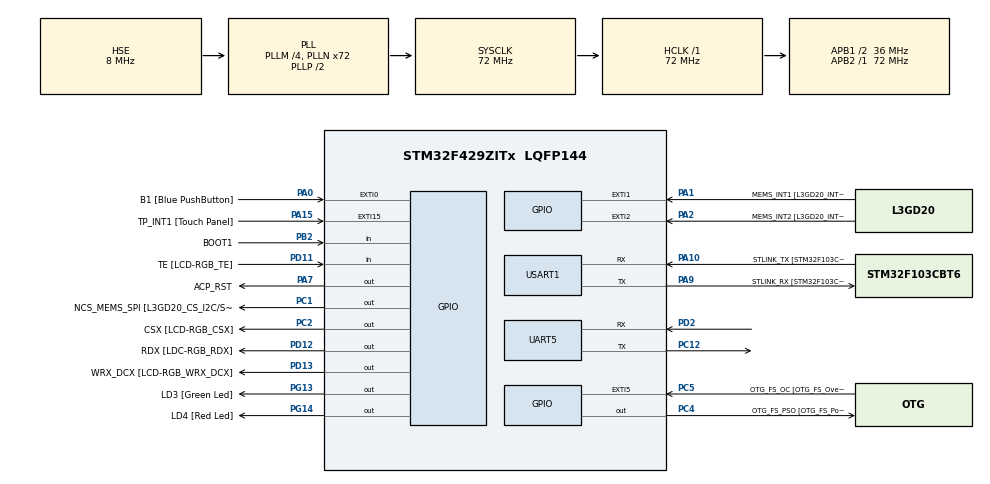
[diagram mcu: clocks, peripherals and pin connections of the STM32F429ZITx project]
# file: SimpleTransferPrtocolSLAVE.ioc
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Mcu.Family=STM32F4
Mcu.Name=STM32F429ZITx
Mcu.Package=LQFP144
NVIC.PriorityGroup=NVIC_PRIORITYGROUP_4
NVIC.TIM6_DAC_IRQn=true\:15\:0\:false\:false\:true\:false\:true\:true
NVIC.TimeBase=TIM6_DAC_IRQn
NVIC.TimeBaseIP=TIM6
NVIC.UART5_IRQn=true\:0\:0\:false\:false\:true\:true\:true\:true
PA0/WKUP.GPIO_Label=B1 [Blue PushButton]
PA0/WKUP.GPIO_ModeDefaultEXTI=GPIO_MODE_EVT_RISING
PA0/WKUP.GPIO_PuPd=GPIO_NOPULL
PA0/WKUP.Signal=GPXTI0
PA1.GPIO_Label=MEMS_INT1 [L3GD20_INT1]
PA1.GPIO_ModeDefaultEXTI=GPIO_MODE_EVT_RISING
PA1.GPIO_PuPd=GPIO_NOPULL
PA1.Signal=GPXTI1
PA10.GPIO_Label=STLINK_TX [STM32F103CBT6_PA2]
PA10.Mode=Asynchronous
PA10.Signal=USART1_RX
PA11.GPIO_Label=R4
PA11.GPIO_Mode=GPIO_MODE_AF_PP
PA11.GPIO_PuPd=GPIO_NOPULL
PA11.GPIO_Speed=GPIO_SPEED_FREQ_LOW
PA11.Signal=LTDC_R4
PA12.GPIO_Label=R5
PA12.GPIO_Mode=GPIO_MODE_AF_PP
PA12.GPIO_PuPd=GPIO_NOPULL
PA12.GPIO_Speed=GPIO_SPEED_FREQ_LOW
PA12.Signal=LTDC_R5
PA13.GPIO_Label=SWDIO
PA13.Mode=Serial_Wire
PA13.Signal=SYS_JTMS-SWDIO
PA14.GPIO_Label=SWCLK
PA14.Mode=Serial_Wire
PA14.Signal=SYS_JTCK-SWCLK
PA15.GPIO_Label=TP_INT1 [Touch Panel]
PA15.GPIO_ModeDefaultEXTI=GPIO_MODE_EVT_RISING
PA15.GPIO_PuPd=GPIO_NOPULL
PA15.Signal=GPXTI15
PA2.GPIO_Label=MEMS_INT2 [L3GD20_INT2]
PA2.GPIO_ModeDefaultEXTI=GPIO_MODE_EVT_RISING
PA2.GPIO_PuPd=GPIO_NOPULL
PA2.Signal=GPXTI2
PA3.GPIO_Label=B5
PA3.GPIO_Mode=GPIO_MODE_AF_PP
PA3.GPIO_PuPd=GPIO_NOPULL
PA3.GPIO_Speed=GPIO_SPEED_FREQ_LOW
PA3.Signal=LTDC_B5
PA4.GPIO_Label=VSYNC
PA4.GPIO_Mode=GPIO_MODE_AF_PP
PA4.GPIO_PuPd=GPIO_NOPULL
PA4.GPIO_Speed=GPIO_SPEED_FREQ_LOW
PA4.Signal=LTDC_VSYNC
PA6.GPIO_Label=G2
PA6.GPIO_Mode=GPIO_MODE_AF_PP
PA6.GPIO_PuPd=GPIO_NOPULL
PA6.GPIO_Speed=GPIO_SPEED_FREQ_LOW
PA6.Signal=LTDC_G2
PA7.GPIO_Label=ACP_RST
PA7.GPIO_Mode=GPIO_MODE_OUTPUT_PP
PA7.GPIO_PuPd=GPIO_NOPULL
PA7.GPIO_Speed=GPIO_SPEED_FREQ_LOW
PA7.Signal=GPIO_Output
PA8.GPIO_Label=I2C3_SCL [ACP/RF_SCL]
PA8.GPIO_Mode=GPIO_MODE_AF_OD
PA8.GPIO_Pu=GPIO_PULLUP
PA8.GPIO_PuPd=GPIO_NOPULL
PA8.GPIO_Speed=GPIO_SPEED_FREQ_LOW
PA8.Signal=I2C3_SCL
PA9.GPIO_Label=STLINK_RX [STM32F103CBT6_PA3]
PA9.Mode=Asynchronous
PA9.Signal=USART1_TX
PB0.GPIO_Label=R3
PB0.GPIO_Mode=GPIO_MODE_AF_PP
PB0.GPIO_PuPd=GPIO_NOPULL
PB0.GPIO_Speed=GPIO_SPEED_FREQ_LOW
PB0.Signal=LTDC_R3
PB1.GPIO_Label=R6
PB1.GPIO_Mode=GPIO_MODE_AF_PP
PB1.GPIO_PuPd=GPIO_NOPULL
PB1.GPIO_Speed=GPIO_SPEED_FREQ_LOW
PB1.Signal=LTDC_R6
PB10.GPIO_Label=G4
PB10.GPIO_Mode=GPIO_MODE_AF_PP
PB10.GPIO_PuPd=GPIO_NOPULL
PB10.GPIO_Speed=GPIO_SPEED_FREQ_LOW
PB10.Signal=LTDC_G4
PB11.GPIO_Label=G5
PB11.GPIO_Mode=GPIO_MODE_AF_PP
PB11.GPIO_PuPd=GPIO_NOPULL
PB11.GPIO_Speed=GPIO_SPEED_FREQ_LOW
PB11.Signal=LTDC_G5
PB12.GPIO_Label=OTG_HS_ID
PB12.GPIO_Mode=GPIO_MODE_AF_PP
PB12.GPIO_PuPd=GPIO_NOPULL
PB12.GPIO_Speed=GPIO_SPEED_FREQ_LOW
PB12.Signal=USB_OTG_HS_ID
PB13.GPIO_Label=VBUS_HS
PB13.GPIO_Mode=GPIO_MODE_INPUT
PB13.GPIO_PuPd=GPIO_NOPULL
PB13.Signal=USB_OTG_HS_VBUS
PB14.GPIO_Label=OTG_HS_DM
PB14.GPIO_Mode=GPIO_MODE_AF_PP
PB14.GPIO_PuPd=GPIO_NOPULL
PB14.GPIO_Speed=GPIO_SPEED_FREQ_LOW
PB14.Signal=USB_OTG_HS_DM
PB15.GPIO_Label=OTG_HS_DP
PB15.GPIO_Mode=GPIO_MODE_AF_PP
PB15.GPIO_PuPd=GPIO_NOPULL
PB15.GPIO_Speed=GPIO_SPEED_FREQ_LOW
PB15.Signal=USB_OTG_HS_DP
PB2/BOOT1.GPIO_Label=BOOT1
PB2/BOOT1.GPIO_Mode=GPIO_MODE_INPUT
PB2/BOOT1.GPIO_PuPd=GPIO_NOPULL
PB2/BOOT1.Signal=GPIO_Input
PB5.GPIO_Label=SDCKE1
PB5.GPIO_Mode=GPIO_MODE_AF_PP
PB5.GPIO_PuPd=GPIO_NOPULL
PB5.GPIO_Speed=GPIO_SPEED_FREQ_VERY_HIGH
PB5.Signal=FMC_SDCKE1
PB6.GPIO_Label=SDNE1 [SDRAM_CS]
PB6.GPIO_Mode=GPIO_MODE_AF_PP
PB6.GPIO_PuPd=GPIO_NOPULL
PB6.GPIO_Speed=GPIO_SPEED_FREQ_VERY_HIGH
PB6.Signal=FMC_SDNE1
PB8.GPIO_Label=B6
PB8.GPIO_Mode=GPIO_MODE_AF_PP
PB8.GPIO_PuPd=GPIO_NOPULL
PB8.GPIO_Speed=GPIO_SPEED_FREQ_LOW
PB8.Signal=LTDC_B6
PB9.GPIO_Label=B7
PB9.GPIO_Mode=GPIO_MODE_AF_PP
PB9.GPIO_PuPd=GPIO_NOPULL
PB9.GPIO_Speed=GPIO_SPEED_FREQ_LOW
PB9.Signal=LTDC_B7
PC0.GPIO_Label=SDNWE
PC0.GPIO_Mode=GPIO_MODE_AF_PP
PC0.GPIO_PuPd=GPIO_NOPULL
PC0.GPIO_Speed=GPIO_SPEED_FREQ_VERY_HIGH
PC0.Signal=FMC_SDNWE
PC1.GPIO_Label=NCS_MEMS_SPI [L3GD20_CS_I2C/SPI]
PC1.GPIO_Mode=GPIO_MODE_OUTPUT_PP
PC1.GPIO_PuPd=GPIO_NOPULL
PC1.GPIO_Speed=GPIO_SPEED_FREQ_LOW
PC1.Signal=GPIO_Output
PC10.GPIO_Label=R2
PC10.GPIO_Mode=GPIO_MODE_AF_PP
PC10.GPIO_PuPd=GPIO_NOPULL
PC10.GPIO_Speed=GPIO_SPEED_FREQ_LOW
PC10.Signal=LTDC_R2
PC12.Mode=Asynchronous
PC12.Signal=UART5_TX
PC14/OSC32_IN.GPIO_Label=PC14-OSC32_IN
PC14/OSC32_IN.Signal=RCC_OSC32_IN
PC15/OSC32_OUT.GPIO_Label=PC15-OSC32_OUT
PC15/OSC32_OUT.Signal=RCC_OSC32_OUT
PC2.GPIO_Label=CSX [LCD-RGB_CSX]
PC2.GPIO_Mode=GPIO_MODE_OUTPUT_PP
PC2.GPIO_PuPd=GPIO_NOPULL
PC2.GPIO_Speed=GPIO_SPEED_FREQ_LOW
PC2.Signal=GPIO_Output
PC4.GPIO_Label=OTG_FS_PSO [OTG_FS_PowerSwitchOn]
PC4.GPIO_Mode=GPIO_MODE_OUTPUT_PP
PC4.GPIO_PuPd=GPIO_NOPULL
PC4.GPIO_Speed=GPIO_SPEED_FREQ_LOW
PC4.Signal=GPIO_Output
PC5.GPIO_Label=OTG_FS_OC [OTG_FS_OverCurrent]
PC5.GPIO_ModeDefaultEXTI=GPIO_MODE_EVT_RISING
PC5.Signal=GPXTI5
PC6.GPIO_Label=HSYNC
PC6.GPIO_Mode=GPIO_MODE_AF_PP
PC6.GPIO_PuPd=GPIO_NOPULL
PC6.GPIO_Speed=GPIO_SPEED_FREQ_LOW
PC6.Signal=LTDC_HSYNC
PC7.GPIO_Label=G6
PC7.GPIO_Mode=GPIO_MODE_AF_PP
PC7.GPIO_PuPd=GPIO_NOPULL
PC7.GPIO_Speed=GPIO_SPEED_FREQ_LOW
PC7.Signal=LTDC_G6
PC9.GPIO_Label=I2C3_SDA [ACP/RF_SDA]
PC9.GPIO_Mode=GPIO_MODE_AF_OD
PC9.GPIO_Pu=GPIO_PULLUP
PC9.GPIO_PuPd=GPIO_NOPULL
PC9.GPIO_Speed=GPIO_SPEED_FREQ_LOW
PC9.Signal=I2C3_SDA
PD0.GPIO_Label=D2
PD0.GPIO_Mode=GPIO_MODE_AF_PP
PD0.GPIO_PuPd=GPIO_NOPULL
PD0.GPIO_Speed=GPIO_SPEED_FREQ_VERY_HIGH
PD0.Signal=FMC_D2_DA2
PD1.GPIO_Label=D3
PD1.GPIO_Mode=GPIO_MODE_AF_PP
PD1.GPIO_PuPd=GPIO_NOPULL
PD1.GPIO_Speed=GPIO_SPEED_FREQ_VERY_HIGH
PD1.Signal=FMC_D3_DA3
PD10.GPIO_Label=D15
PD10.GPIO_Mode=GPIO_MODE_AF_PP
PD10.GPIO_PuPd=GPIO_NOPULL
PD10.GPIO_Speed=GPIO_SPEED_FREQ_VERY_HIGH
PD10.Signal=FMC_D15_DA15
PD11.GPIO_Label=TE [LCD-RGB_TE]
PD11.GPIO_Mode=GPIO_MODE_INPUT
PD11.GPIO_PuPd=GPIO_NOPULL
PD11.Signal=GPIO_Input
PD12.GPIO_Label=RDX [LDC-RGB_RDX]
PD12.GPIO_Mode=GPIO_MODE_OUTPUT_PP
PD12.GPIO_PuPd=GPIO_NOPULL
PD12.GPIO_Speed=GPIO_SPEED_FREQ_LOW
PD12.Signal=GPIO_Output
PD13.GPIO_Label=WRX_DCX [LCD-RGB_WRX_DCX]
PD13.GPIO_Mode=GPIO_MODE_OUTPUT_PP
PD13.GPIO_PuPd=GPIO_NOPULL
PD13.GPIO_Speed=GPIO_SPEED_FREQ_LOW
PD13.Signal=GPIO_Output
PD14.GPIO_Label=D0
PD14.GPIO_Mode=GPIO_MODE_AF_PP
PD14.GPIO_PuPd=GPIO_NOPULL
PD14.GPIO_Speed=GPIO_SPEED_FREQ_VERY_HIGH
PD14.Signal=FMC_D0_DA0
PD15.GPIO_Label=D1
PD15.GPIO_Mode=GPIO_MODE_AF_PP
PD15.GPIO_PuPd=GPIO_NOPULL
PD15.GPIO_Speed=GPIO_SPEED_FREQ_VERY_HIGH
PD15.Signal=FMC_D1_DA1
PD2.Mode=Asynchronous
PD2.Signal=UART5_RX
PD3.GPIO_Label=G7
PD3.GPIO_Mode=GPIO_MODE_AF_PP
PD3.GPIO_PuPd=GPIO_NOPULL
PD3.GPIO_Speed=GPIO_SPEED_FREQ_LOW
PD3.Signal=LTDC_G7
PD6.GPIO_Label=B2
PD6.GPIO_Mode=GPIO_MODE_AF_PP
PD6.GPIO_PuPd=GPIO_NOPULL
PD6.GPIO_Speed=GPIO_SPEED_FREQ_LOW
PD6.Signal=LTDC_B2
PD8.GPIO_Label=D13
PD8.GPIO_Mode=GPIO_MODE_AF_PP
PD8.GPIO_PuPd=GPIO_NOPULL
PD8.GPIO_Speed=GPIO_SPEED_FREQ_VERY_HIGH
PD8.Signal=FMC_D13_DA13
PD9.GPIO_Label=D14
PD9.GPIO_Mode=GPIO_MODE_AF_PP
PD9.GPIO_PuPd=GPIO_NOPULL
PD9.GPIO_Speed=GPIO_SPEED_FREQ_VERY_HIGH
PD9.Signal=FMC_D14_DA14
PE0.GPIO_Label=NBL0 [SDRAM_LDQM]
PE0.GPIO_Mode=GPIO_MODE_AF_PP
PE0.GPIO_PuPd=GPIO_NOPULL
PE0.GPIO_Speed=GPIO_SPEED_FREQ_VERY_HIGH
PE0.Signal=FMC_NBL0
PE1.GPIO_Label=NBL1 [SDRAM_UDQM]
PE1.GPIO_Mode=GPIO_MODE_AF_PP
PE1.GPIO_PuPd=GPIO_NOPULL
PE1.GPIO_Speed=GPIO_SPEED_FREQ_VERY_HIGH
PE1.Signal=FMC_NBL1
PE10.GPIO_Label=D7
PE10.GPIO_Mode=GPIO_MODE_AF_PP
PE10.GPIO_PuPd=GPIO_NOPULL
PE10.GPIO_Speed=GPIO_SPEED_FREQ_VERY_HIGH
PE10.Signal=FMC_D7_DA7
PE11.GPIO_Label=D8
PE11.GPIO_Mode=GPIO_MODE_AF_PP
PE11.GPIO_PuPd=GPIO_NOPULL
PE11.GPIO_Speed=GPIO_SPEED_FREQ_VERY_HIGH
PE11.Signal=FMC_D8_DA8
PE12.GPIO_Label=D9
PE12.GPIO_Mode=GPIO_MODE_AF_PP
PE12.GPIO_PuPd=GPIO_NOPULL
PE12.GPIO_Speed=GPIO_SPEED_FREQ_VERY_HIGH
PE12.Signal=FMC_D9_DA9
PE13.GPIO_Label=D10
PE13.GPIO_Mode=GPIO_MODE_AF_PP
PE13.GPIO_PuPd=GPIO_NOPULL
PE13.GPIO_Speed=GPIO_SPEED_FREQ_VERY_HIGH
PE13.Signal=FMC_D10_DA10
PE14.GPIO_Label=D11
PE14.GPIO_Mode=GPIO_MODE_AF_PP
PE14.GPIO_PuPd=GPIO_NOPULL
PE14.GPIO_Speed=GPIO_SPEED_FREQ_VERY_HIGH
PE14.Signal=FMC_D11_DA11
PE15.GPIO_Label=D12
PE15.GPIO_Mode=GPIO_MODE_AF_PP
PE15.GPIO_PuPd=GPIO_NOPULL
PE15.GPIO_Speed=GPIO_SPEED_FREQ_VERY_HIGH
PE15.Signal=FMC_D12_DA12
PE7.GPIO_Label=D4
PE7.GPIO_Mode=GPIO_MODE_AF_PP
PE7.GPIO_PuPd=GPIO_NOPULL
PE7.GPIO_Speed=GPIO_SPEED_FREQ_VERY_HIGH
PE7.Signal=FMC_D4_DA4
PE8.GPIO_Label=D5
PE8.GPIO_Mode=GPIO_MODE_AF_PP
PE8.GPIO_PuPd=GPIO_NOPULL
PE8.GPIO_Speed=GPIO_SPEED_FREQ_VERY_HIGH
PE8.Signal=FMC_D5_DA5
PE9.GPIO_Label=D6
PE9.GPIO_Mode=GPIO_MODE_AF_PP
PE9.GPIO_PuPd=GPIO_NOPULL
PE9.GPIO_Speed=GPIO_SPEED_FREQ_VERY_HIGH
PE9.Signal=FMC_D6_DA6
PF0.GPIO_Label=A0
PF0.GPIO_Mode=GPIO_MODE_AF_PP
PF0.GPIO_PuPd=GPIO_NOPULL
PF0.GPIO_Speed=GPIO_SPEED_FREQ_VERY_HIGH
PF0.Signal=FMC_A0
PF1.GPIO_Label=A1
PF1.GPIO_Mode=GPIO_MODE_AF_PP
PF1.GPIO_PuPd=GPIO_NOPULL
PF1.GPIO_Speed=GPIO_SPEED_FREQ_VERY_HIGH
PF1.Signal=FMC_A1
PF10.GPIO_Label=ENABLE [LCD-RGB_ENABLE]
PF10.GPIO_Mode=GPIO_MODE_AF_PP
PF10.GPIO_PuPd=GPIO_NOPULL
PF10.GPIO_Speed=GPIO_SPEED_FREQ_LOW
PF10.Signal=LTDC_DE
PF11.GPIO_Label=SDNRAS
PF11.GPIO_Mode=GPIO_MODE_AF_PP
PF11.GPIO_PuPd=GPIO_NOPULL
PF11.GPIO_Speed=GPIO_SPEED_FREQ_VERY_HIGH
PF11.Signal=FMC_SDNRAS
PF12.GPIO_Label=A6
PF12.GPIO_Mode=GPIO_MODE_AF_PP
PF12.GPIO_PuPd=GPIO_NOPULL
PF12.GPIO_Speed=GPIO_SPEED_FREQ_VERY_HIGH
PF12.Signal=FMC_A6
PF13.GPIO_Label=A7
PF13.GPIO_Mode=GPIO_MODE_AF_PP
PF13.GPIO_PuPd=GPIO_NOPULL
PF13.GPIO_Speed=GPIO_SPEED_FREQ_VERY_HIGH
PF13.Signal=FMC_A7
PF14.GPIO_Label=A8
PF14.GPIO_Mode=GPIO_MODE_AF_PP
PF14.GPIO_PuPd=GPIO_NOPULL
PF14.GPIO_Speed=GPIO_SPEED_FREQ_VERY_HIGH
PF14.Signal=FMC_A8
PF15.GPIO_Label=A9
PF15.GPIO_Mode=GPIO_MODE_AF_PP
PF15.GPIO_PuPd=GPIO_NOPULL
PF15.GPIO_Speed=GPIO_SPEED_FREQ_VERY_HIGH
PF15.Signal=FMC_A9
PF2.GPIO_Label=A2
PF2.GPIO_Mode=GPIO_MODE_AF_PP
PF2.GPIO_PuPd=GPIO_NOPULL
PF2.GPIO_Speed=GPIO_SPEED_FREQ_VERY_HIGH
PF2.Signal=FMC_A2
PF3.GPIO_Label=A3
PF3.GPIO_Mode=GPIO_MODE_AF_PP
PF3.GPIO_PuPd=GPIO_NOPULL
PF3.GPIO_Speed=GPIO_SPEED_FREQ_VERY_HIGH
PF3.Signal=FMC_A3
PF4.GPIO_Label=A4
PF4.GPIO_Mode=GPIO_MODE_AF_PP
PF4.GPIO_PuPd=GPIO_NOPULL
PF4.GPIO_Speed=GPIO_SPEED_FREQ_VERY_HIGH
PF4.Signal=FMC_A4
PF5.GPIO_Label=A5
PF5.GPIO_Mode=GPIO_MODE_AF_PP
PF5.GPIO_PuPd=GPIO_NOPULL
PF5.GPIO_Speed=GPIO_SPEED_FREQ_VERY_HIGH
PF5.Signal=FMC_A5
PF7.GPIO_Label=SPI5_SCK [L3GD20_SCL/SPC]
PF7.GPIO_Mode=GPIO_MODE_AF_PP
PF7.GPIO_PuPd=GPIO_NOPULL
PF7.GPIO_Speed=GPIO_SPEED_FREQ_LOW
PF7.Signal=SPI5_SCK
PF8.GPIO_Label=SPI5_MISO [L3GD20_SDO]
PF8.GPIO_Mode=GPIO_MODE_AF_PP
PF8.GPIO_PuPd=GPIO_NOPULL
PF8.GPIO_Speed=GPIO_SPEED_FREQ_LOW
PF8.Signal=SPI5_MISO
PF9.GPIO_Label=SPI5_MOSI [L3GD20_SDA/SDI/SDO]
PF9.GPIO_Mode=GPIO_MODE_AF_PP
PF9.GPIO_PuPd=GPIO_NOPULL
PF9.GPIO_Speed=GPIO_SPEED_FREQ_LOW
PF9.Signal=SPI5_MOSI
PG0.GPIO_Label=A10
PG0.GPIO_Mode=GPIO_MODE_AF_PP
PG0.GPIO_PuPd=GPIO_NOPULL
PG0.GPIO_Speed=GPIO_SPEED_FREQ_VERY_HIGH
PG0.Signal=FMC_A10
PG1.GPIO_Label=A11
PG1.GPIO_Mode=GPIO_MODE_AF_PP
PG1.GPIO_PuPd=GPIO_NOPULL
PG1.GPIO_Speed=GPIO_SPEED_FREQ_VERY_HIGH
PG1.Signal=FMC_A11
PG10.GPIO_Label=G3
PG10.GPIO_Mode=GPIO_MODE_AF_PP
PG10.GPIO_PuPd=GPIO_NOPULL
PG10.GPIO_Speed=GPIO_SPEED_FREQ_LOW
PG10.Signal=LTDC_G3
PG11.GPIO_Label=B3
PG11.GPIO_Mode=GPIO_MODE_AF_PP
PG11.GPIO_PuPd=GPIO_NOPULL
PG11.GPIO_Speed=GPIO_SPEED_FREQ_LOW
PG11.Signal=LTDC_B3
PG12.GPIO_Label=B4
PG12.GPIO_Mode=GPIO_MODE_AF_PP
PG12.GPIO_PuPd=GPIO_NOPULL
PG12.GPIO_Speed=GPIO_SPEED_FREQ_LOW
PG12.Signal=LTDC_B4
PG13.GPIO_Label=LD3 [Green Led]
PG13.GPIO_Mode=GPIO_MODE_OUTPUT_PP
PG13.GPIO_PuPd=GPIO_NOPULL
PG13.GPIO_Speed=GPIO_SPEED_FREQ_LOW
PG13.Signal=GPIO_Output
PG14.GPIO_Label=LD4 [Red Led]
PG14.GPIO_Mode=GPIO_MODE_OUTPUT_PP
PG14.GPIO_PuPd=GPIO_NOPULL
PG14.GPIO_Speed=GPIO_SPEED_FREQ_LOW
PG14.Signal=GPIO_Output
PG15.GPIO_Label=SDNCAS
PG15.GPIO_Mode=GPIO_MODE_AF_PP
PG15.GPIO_PuPd=GPIO_NOPULL
PG15.GPIO_Speed=GPIO_SPEED_FREQ_VERY_HIGH
PG15.Signal=FMC_SDNCAS
PG4.GPIO_Label=BA0
PG4.GPIO_Mode=GPIO_MODE_AF_PP
PG4.GPIO_PuPd=GPIO_NOPULL
PG4.GPIO_Speed=GPIO_SPEED_FREQ_VERY_HIGH
PG4.Signal=FMC_A14_BA0
PG5.GPIO_Label=BA1
PG5.GPIO_Mode=GPIO_MODE_AF_PP
PG5.GPIO_PuPd=GPIO_NOPULL
PG5.GPIO_Speed=GPIO_SPEED_FREQ_VERY_HIGH
PG5.Signal=FMC_A15_BA1
PG6.GPIO_Label=R7
PG6.GPIO_Mode=GPIO_MODE_AF_PP
PG6.GPIO_PuPd=GPIO_NOPULL
PG6.GPIO_Speed=GPIO_SPEED_FREQ_LOW
PG6.Signal=LTDC_R7
PG7.GPIO_Label=DOTCLK [LCT-RGB_DOTCLK]
PG7.GPIO_Mode=GPIO_MODE_AF_PP
PG7.GPIO_PuPd=GPIO_NOPULL
PG7.GPIO_Speed=GPIO_SPEED_FREQ_LOW
PG7.Signal=LTDC_CLK
PG8.GPIO_Label=SDCLK
PG8.GPIO_Mode=GPIO_MODE_AF_PP
PG8.GPIO_PuPd=GPIO_NOPULL
PG8.GPIO_Speed=GPIO_SPEED_FREQ_VERY_HIGH
PG8.Signal=FMC_SDCLK
PH0/OSC_IN.GPIO_Label=PH0-OSC_IN
PH0/OSC_IN.Mode=HSE-External-Oscillator
PH0/OSC_IN.Signal=RCC_OSC_IN
PH1/OSC_OUT.GPIO_Label=PH1-OSC_OUT
PH1/OSC_OUT.Mode=HSE-External-Oscillator
PH1/OSC_OUT.Signal=RCC_OSC_OUT
ProjectManager.HeapSize=0x200
ProjectManager.StackSize=0x400
ProjectManager.TargetToolchain=STM32CubeIDE
RCC.48MHZClocksFreq_Value=48000000
RCC.AHBFreq_Value=72000000
RCC.APB1CLKDivider=RCC_HCLK_DIV2
RCC.APB1Freq_Value=36000000
RCC.APB1TimFreq_Value=72000000
RCC.APB2Freq_Value=72000000
RCC.APB2TimFreq_Value=72000000
RCC.CortexFreq_Value=72000000
RCC.HCLKFreq_Value=72000000
RCC.HSE_VALUE=8000000
RCC.HSI_VALUE=16000000
RCC.LSE_VALUE=32768
RCC.PLLM=4
RCC.PLLN=72
RCC.PLLQ=3
RCC.PLLSAIN=50
RCC.PLLSourceVirtual=RCC_PLLSOURCE_HSE
RCC.SYSCLKFreq_VALUE=72000000
RCC.SYSCLKSource=RCC_SYSCLKSOURCE_PLLCLK
RCC.VCOOutputFreq_Value=144000000
SH.FMC_A0.0=FMC_A0
SH.FMC_A1.0=FMC_A1
SH.FMC_A10.0=FMC_A10
SH.FMC_A11.0=FMC_A11
SH.FMC_A14_BA0.0=FMC_BA0
SH.FMC_A15_BA1.0=FMC_BA1
SH.FMC_A2.0=FMC_A2
SH.FMC_A3.0=FMC_A3
SH.FMC_A4.0=FMC_A4
SH.FMC_A5.0=FMC_A5
SH.FMC_A6.0=FMC_A6
SH.FMC_A7.0=FMC_A7
SH.FMC_A8.0=FMC_A8
SH.FMC_A9.0=FMC_A9
SH.FMC_D0_DA0.0=FMC_D0
SH.FMC_D10_DA10.0=FMC_D10
SH.FMC_D11_DA11.0=FMC_D11
SH.FMC_D12_DA12.0=FMC_D12
SH.FMC_D13_DA13.0=FMC_D13
SH.FMC_D14_DA14.0=FMC_D14
SH.FMC_D15_DA15.0=FMC_D15
SH.FMC_D1_DA1.0=FMC_D1
SH.FMC_D2_DA2.0=FMC_D2
SH.FMC_D3_DA3.0=FMC_D3
SH.FMC_D4_DA4.0=FMC_D4
SH.FMC_D5_DA5.0=FMC_D5
SH.FMC_D6_DA6.0=FMC_D6
SH.FMC_D7_DA7.0=FMC_D7
SH.FMC_D8_DA8.0=FMC_D8
SH.FMC_D9_DA9.0=FMC_D9
SH.FMC_NBL0.0=FMC_NBL0
SH.FMC_NBL1.0=FMC_NBL1
SH.FMC_SDCLK.0=FMC_SDCLK
SH.FMC_SDNCAS.0=FMC_SDNCAS
SH.FMC_SDNRAS.0=FMC_SDNRAS
SH.FMC_SDNWE.0=FMC_SDNWE
UART5.VirtualMode=Asynchronous
USART1.VirtualMode=VM_ASYNC
VP_SYS_VS_tim6.Mode=TIM6
VP_TIM1_VS_ClockSourceINT.Mode=Internal
board=STM32F429I-DISC1

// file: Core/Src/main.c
/* USER CODE BEGIN Header */
/**
  ******************************************************************************
  * @file           : main.c
  * @brief          : Main program body
  ******************************************************************************
  * @attention
  *
  * Copyright (c) 2023 STMicroelectronics.
  * All rights reserved.
  *
  * This software is licensed under terms that can be found in the LICENSE file
  * in the root directory of this software component.
  * If no LICENSE file comes with this software, it is provided AS-IS.
  *
  ******************************************************************************
  */
/* USER CODE END Header */
#include "main.h"

/* USER CODE BEGIN Includes */
#include "STP.h"
/* USER CODE END Includes */

TIM_HandleTypeDef htim1;

UART_HandleTypeDef huart5;
UART_HandleTypeDef huart1;

/* USER CODE BEGIN PV */
STP_Received_Typedef STP;
SLAVE_REGISTER Slave_Registers;
/* USER CODE END PV */

void SystemClock_Config(void);
static void MX_GPIO_Init(void);
static void MX_TIM1_Init(void);
static void MX_USART1_UART_Init(void);
static void MX_UART5_Init(void);

/* USER CODE BEGIN 0 */
int8_t RegData[MAX_DATA_LENGHT]={1,2,3,4,5,6,7,8,9,10,
								  11,12,13,14,15,16,17,18,19,20,
								  21,22,23,24,25,26,27,28,29,30,31,32};

uint8_t Receive_buffer[MAX_DATA_LENGHT+8];
uint8_t Transmit_buffer[MAX_DATA_LENGHT+8];
int8_t Slave_Receiving_Frame[MAX_DATA_LENGHT+8];
uint8_t Response_Ready = 0;
uint8_t Receive_Completed = 0;
void DataCallback(STP_SLAVE_Response STP){
//slave when ready for response this callback call.
memcpy(Transmit_buffer,STP.Sender_Frame,MAX_DATA_LENGHT+8);
Response_Ready = 1 ;

}
void ErrorCallback(STP_SLAVE_Response STP){

}

void HAL_UART_RxCpltCallback (UART_HandleTypeDef * husart){

	if (husart == &huart5){

		Receive_Completed = 1;//when  completed data receiving

	}

}

void HAL_UART_TxCpltCallback (UART_HandleTypeDef * husart){

	if (husart == &huart5){
			HAL_UART_Receive_IT(&huart5, Receive_buffer, MAX_DATA_LENGHT+8);
			Response_Ready = 0;//when  completed data transmitting clear variable.

		}

}

/* USER CODE END 0 */

int main(void)
{
  /* USER CODE BEGIN 1 */
Init_STP_Slave(&STP, 1, &DataCallback, &ErrorCallback);
Register_Write(RegData, REGISTER_GROUP_1);//Writing Register data to Register group 1;
  /* USER CODE END 1 */

  /* MCU Configuration--------------------------------------------------------*/

  /* Reset of all peripherals, Initializes the Flash interface and the Systick. */
  HAL_Init();

  /* Configure the system clock */
  SystemClock_Config();

  /* Initialize all configured peripherals */
  MX_GPIO_Init();
  MX_TIM1_Init();
  MX_USART1_UART_Init();
  MX_UART5_Init();
  /* USER CODE BEGIN 2 */

  HAL_UART_Receive_IT(&huart5, Receive_buffer, MAX_DATA_LENGHT+8);
  /* USER CODE END 2 */

  /* Infinite loop */
  while (1)
  {

    /* USER CODE BEGIN 3 */
	  if(Receive_Completed){
		  Receive_Completed = 0;
		  memcpy(Slave_Receiving_Frame,Receive_buffer,MAX_DATA_LENGHT+8);
		  Slave_Frame_DePacker(&STP, Slave_Receiving_Frame);

	  }

	  if (Response_Ready){
		  Response_Ready=0;
		  memcpy(Transmit_buffer,STP.STP_SLAVE_Response.Sender_Frame,MAX_DATA_LENGHT+8);
		  HAL_UART_Transmit_IT(&huart5, Transmit_buffer, MAX_DATA_LENGHT+8);

	  }

  }
  /* USER CODE END 3 */
}

void SystemClock_Config(void)
{
  RCC_OscInitTypeDef RCC_OscInitStruct = {0};
  RCC_ClkInitTypeDef RCC_ClkInitStruct = {0};

  /** Configure the main internal regulator output voltage
  */
  __HAL_RCC_PWR_CLK_ENABLE();
  __HAL_PWR_VOLTAGESCALING_CONFIG(PWR_REGULATOR_VOLTAGE_SCALE3);

  /** Initializes the RCC Oscillators according to the specified parameters
  * in the RCC_OscInitTypeDef structure.
  */
  RCC_OscInitStruct.OscillatorType = RCC_OSCILLATORTYPE_HSE;
  RCC_OscInitStruct.HSEState = RCC_HSE_ON;
  RCC_OscInitStruct.PLL.PLLState = RCC_PLL_ON;
  RCC_OscInitStruct.PLL.PLLSource = RCC_PLLSOURCE_HSE;
  RCC_OscInitStruct.PLL.PLLM = 4;
  RCC_OscInitStruct.PLL.PLLN = 72;
  RCC_OscInitStruct.PLL.PLLP = RCC_PLLP_DIV2;
  RCC_OscInitStruct.PLL.PLLQ = 3;
  if (HAL_RCC_OscConfig(&RCC_OscInitStruct) != HAL_OK)
  {
    Error_Handler();
  }

  /** Initializes the CPU, AHB and APB buses clocks
  */
  RCC_ClkInitStruct.ClockType = RCC_CLOCKTYPE_HCLK|RCC_CLOCKTYPE_SYSCLK
                              |RCC_CLOCKTYPE_PCLK1|RCC_CLOCKTYPE_PCLK2;
  RCC_ClkInitStruct.SYSCLKSource = RCC_SYSCLKSOURCE_PLLCLK;
  RCC_ClkInitStruct.AHBCLKDivider = RCC_SYSCLK_DIV1;
  RCC_ClkInitStruct.APB1CLKDivider = RCC_HCLK_DIV2;
  RCC_ClkInitStruct.APB2CLKDivider = RCC_HCLK_DIV1;

  if (HAL_RCC_ClockConfig(&RCC_ClkInitStruct, FLASH_LATENCY_2) != HAL_OK)
  {
    Error_Handler();
  }
}

static void MX_TIM1_Init(void)
{

  TIM_ClockConfigTypeDef sClockSourceConfig = {0};
  TIM_MasterConfigTypeDef sMasterConfig = {0};

  htim1.Instance = TIM1;
  htim1.Init.Prescaler = 0;
  htim1.Init.CounterMode = TIM_COUNTERMODE_UP;
  htim1.Init.Period = 65535;
  htim1.Init.ClockDivision = TIM_CLOCKDIVISION_DIV1;
  htim1.Init.RepetitionCounter = 0;
  htim1.Init.AutoReloadPreload = TIM_AUTORELOAD_PRELOAD_DISABLE;
  if (HAL_TIM_Base_Init(&htim1) != HAL_OK)
  {
    Error_Handler();
  }
  sClockSourceConfig.ClockSource = TIM_CLOCKSOURCE_INTERNAL;
  if (HAL_TIM_ConfigClockSource(&htim1, &sClockSourceConfig) != HAL_OK)
  {
    Error_Handler();
  }
  sMasterConfig.MasterOutputTrigger = TIM_TRGO_RESET;
  sMasterConfig.MasterSlaveMode = TIM_MASTERSLAVEMODE_DISABLE;
  if (HAL_TIMEx_MasterConfigSynchronization(&htim1, &sMasterConfig) != HAL_OK)
  {
    Error_Handler();
  }

}

static void MX_UART5_Init(void)
{

  huart5.Instance = UART5;
  huart5.Init.BaudRate = 115200;
  huart5.Init.WordLength = UART_WORDLENGTH_8B;
  huart5.Init.StopBits = UART_STOPBITS_1;
  huart5.Init.Parity = UART_PARITY_NONE;
  huart5.Init.Mode = UART_MODE_TX_RX;
  huart5.Init.HwFlowCtl = UART_HWCONTROL_NONE;
  huart5.Init.OverSampling = UART_OVERSAMPLING_16;
  if (HAL_UART_Init(&huart5) != HAL_OK)
  {
    Error_Handler();
  }

}

static void MX_USART1_UART_Init(void)
{

  huart1.Instance = USART1;
  huart1.Init.BaudRate = 115200;
  huart1.Init.WordLength = UART_WORDLENGTH_8B;
  huart1.Init.StopBits = UART_STOPBITS_1;
  huart1.Init.Parity = UART_PARITY_NONE;
  huart1.Init.Mode = UART_MODE_TX_RX;
  huart1.Init.HwFlowCtl = UART_HWCONTROL_NONE;
  huart1.Init.OverSampling = UART_OVERSAMPLING_16;
  if (HAL_UART_Init(&huart1) != HAL_OK)
  {
    Error_Handler();
  }

}

static void MX_GPIO_Init(void)
{
  GPIO_InitTypeDef GPIO_InitStruct = {0};

  /* GPIO Ports Clock Enable */
  __HAL_RCC_GPIOC_CLK_ENABLE();
  __HAL_RCC_GPIOF_CLK_ENABLE();
  __HAL_RCC_GPIOH_CLK_ENABLE();
  __HAL_RCC_GPIOA_CLK_ENABLE();
  __HAL_RCC_GPIOB_CLK_ENABLE();
  __HAL_RCC_GPIOG_CLK_ENABLE();
  __HAL_RCC_GPIOE_CLK_ENABLE();
  __HAL_RCC_GPIOD_CLK_ENABLE();

  /*Configure GPIO pin Output Level */
  HAL_GPIO_WritePin(GPIOC, NCS_MEMS_SPI_Pin|CSX_Pin|OTG_FS_PSO_Pin, GPIO_PIN_RESET);

  /*Configure GPIO pin Output Level */
  HAL_GPIO_WritePin(ACP_RST_GPIO_Port, ACP_RST_Pin, GPIO_PIN_RESET);

  /*Configure GPIO pin Output Level */
  HAL_GPIO_WritePin(GPIOD, RDX_Pin|WRX_DCX_Pin, GPIO_PIN_RESET);

  /*Configure GPIO pin Output Level */
  HAL_GPIO_WritePin(GPIOG, LD3_Pin|LD4_Pin, GPIO_PIN_RESET);

  /*Configure GPIO pins : A0_Pin A1_Pin A2_Pin A3_Pin
                           A4_Pin A5_Pin SDNRAS_Pin A6_Pin
                           A7_Pin A8_Pin A9_Pin */
  GPIO_InitStruct.Pin = A0_Pin|A1_Pin|A2_Pin|A3_Pin
                          |A4_Pin|A5_Pin|SDNRAS_Pin|A6_Pin
                          |A7_Pin|A8_Pin|A9_Pin;
  GPIO_InitStruct.Mode = GPIO_MODE_AF_PP;
  GPIO_InitStruct.Pull = GPIO_NOPULL;
  GPIO_InitStruct.Speed = GPIO_SPEED_FREQ_VERY_HIGH;
  GPIO_InitStruct.Alternate = GPIO_AF12_FMC;
  HAL_GPIO_Init(GPIOF, &GPIO_InitStruct);

  /*Configure GPIO pins : SPI5_SCK_Pin SPI5_MISO_Pin SPI5_MOSI_Pin */
  GPIO_InitStruct.Pin = SPI5_SCK_Pin|SPI5_MISO_Pin|SPI5_MOSI_Pin;
  GPIO_InitStruct.Mode = GPIO_MODE_AF_PP;
  GPIO_InitStruct.Pull = GPIO_NOPULL;
  GPIO_InitStruct.Speed = GPIO_SPEED_FREQ_LOW;
  GPIO_InitStruct.Alternate = GPIO_AF5_SPI5;
  HAL_GPIO_Init(GPIOF, &GPIO_InitStruct);

  /*Configure GPIO pin : ENABLE_Pin */
  GPIO_InitStruct.Pin = ENABLE_Pin;
  GPIO_InitStruct.Mode = GPIO_MODE_AF_PP;
  GPIO_InitStruct.Pull = GPIO_NOPULL;
  GPIO_InitStruct.Speed = GPIO_SPEED_FREQ_LOW;
  GPIO_InitStruct.Alternate = GPIO_AF14_LTDC;
  HAL_GPIO_Init(ENABLE_GPIO_Port, &GPIO_InitStruct);

  /*Configure GPIO pin : SDNWE_Pin */
  GPIO_InitStruct.Pin = SDNWE_Pin;
  GPIO_InitStruct.Mode = GPIO_MODE_AF_PP;
  GPIO_InitStruct.Pull = GPIO_NOPULL;
  GPIO_InitStruct.Speed = GPIO_SPEED_FREQ_VERY_HIGH;
  GPIO_InitStruct.Alternate = GPIO_AF12_FMC;
  HAL_GPIO_Init(SDNWE_GPIO_Port, &GPIO_InitStruct);

  /*Configure GPIO pins : NCS_MEMS_SPI_Pin CSX_Pin OTG_FS_PSO_Pin */
  GPIO_InitStruct.Pin = NCS_MEMS_SPI_Pin|CSX_Pin|OTG_FS_PSO_Pin;
  GPIO_InitStruct.Mode = GPIO_MODE_OUTPUT_PP;
  GPIO_InitStruct.Pull = GPIO_NOPULL;
  GPIO_InitStruct.Speed = GPIO_SPEED_FREQ_LOW;
  HAL_GPIO_Init(GPIOC, &GPIO_InitStruct);

  /*Configure GPIO pins : B1_Pin MEMS_INT1_Pin MEMS_INT2_Pin TP_INT1_Pin */
  GPIO_InitStruct.Pin = B1_Pin|MEMS_INT1_Pin|MEMS_INT2_Pin|TP_INT1_Pin;
  GPIO_InitStruct.Mode = GPIO_MODE_EVT_RISING;
  GPIO_InitStruct.Pull = GPIO_NOPULL;
  HAL_GPIO_Init(GPIOA, &GPIO_InitStruct);

  /*Configure GPIO pins : B5_Pin VSYNC_Pin G2_Pin R4_Pin
                           R5_Pin */
  GPIO_InitStruct.Pin = B5_Pin|VSYNC_Pin|G2_Pin|R4_Pin
                          |R5_Pin;
  GPIO_InitStruct.Mode = GPIO_MODE_AF_PP;
  GPIO_InitStruct.Pull = GPIO_NOPULL;
  GPIO_InitStruct.Speed = GPIO_SPEED_FREQ_LOW;
  GPIO_InitStruct.Alternate = GPIO_AF14_LTDC;
  HAL_GPIO_Init(GPIOA, &GPIO_InitStruct);

  /*Configure GPIO pin : ACP_RST_Pin */
  GPIO_InitStruct.Pin = ACP_RST_Pin;
  GPIO_InitStruct.Mode = GPIO_MODE_OUTPUT_PP;
  GPIO_InitStruct.Pull = GPIO_NOPULL;
  GPIO_InitStruct.Speed = GPIO_SPEED_FREQ_LOW;
  HAL_GPIO_Init(ACP_RST_GPIO_Port, &GPIO_InitStruct);

  /*Configure GPIO pin : OTG_FS_OC_Pin */
  GPIO_InitStruct.Pin = OTG_FS_OC_Pin;
  GPIO_InitStruct.Mode = GPIO_MODE_EVT_RISING;
  GPIO_InitStruct.Pull = GPIO_NOPULL;
  HAL_GPIO_Init(OTG_FS_OC_GPIO_Port, &GPIO_InitStruct);

  /*Configure GPIO pins : R3_Pin R6_Pin */
  GPIO_InitStruct.Pin = R3_Pin|R6_Pin;
  GPIO_InitStruct.Mode = GPIO_MODE_AF_PP;
  GPIO_InitStruct.Pull = GPIO_NOPULL;
  GPIO_InitStruct.Speed = GPIO_SPEED_FREQ_LOW;
  GPIO_InitStruct.Alternate = GPIO_AF9_LTDC;
  HAL_GPIO_Init(GPIOB, &GPIO_InitStruct);

  /*Configure GPIO pin : BOOT1_Pin */
  GPIO_InitStruct.Pin = BOOT1_Pin;
  GPIO_InitStruct.Mode = GPIO_MODE_INPUT;
  GPIO_InitStruct.Pull = GPIO_NOPULL;
  HAL_GPIO_Init(BOOT1_GPIO_Port, &GPIO_InitStruct);

  /*Configure GPIO pins : A10_Pin A11_Pin BA0_Pin BA1_Pin
                           SDCLK_Pin SDNCAS_Pin */
  GPIO_InitStruct.Pin = A10_Pin|A11_Pin|BA0_Pin|BA1_Pin
                          |SDCLK_Pin|SDNCAS_Pin;
  GPIO_InitStruct.Mode = GPIO_MODE_AF_PP;
  GPIO_InitStruct.Pull = GPIO_NOPULL;
  GPIO_InitStruct.Speed = GPIO_SPEED_FREQ_VERY_HIGH;
  GPIO_InitStruct.Alternate = GPIO_AF12_FMC;
  HAL_GPIO_Init(GPIOG, &GPIO_InitStruct);

  /*Configure GPIO pins : D4_Pin D5_Pin D6_Pin D7_Pin
                           D8_Pin D9_Pin D10_Pin D11_Pin
                           D12_Pin NBL0_Pin NBL1_Pin */
  GPIO_InitStruct.Pin = D4_Pin|D5_Pin|D6_Pin|D7_Pin
                          |D8_Pin|D9_Pin|D10_Pin|D11_Pin
                          |D12_Pin|NBL0_Pin|NBL1_Pin;
  GPIO_InitStruct.Mode = GPIO_MODE_AF_PP;
  GPIO_InitStruct.Pull = GPIO_NOPULL;
  GPIO_InitStruct.Speed = GPIO_SPEED_FREQ_VERY_HIGH;
  GPIO_InitStruct.Alternate = GPIO_AF12_FMC;
  HAL_GPIO_Init(GPIOE, &GPIO_InitStruct);

  /*Configure GPIO pins : G4_Pin G5_Pin B6_Pin B7_Pin */
  GPIO_InitStruct.Pin = G4_Pin|G5_Pin|B6_Pin|B7_Pin;
  GPIO_InitStruct.Mode = GPIO_MODE_AF_PP;
  GPIO_InitStruct.Pull = GPIO_NOPULL;
  GPIO_InitStruct.Speed = GPIO_SPEED_FREQ_LOW;
  GPIO_InitStruct.Alternate = GPIO_AF14_LTDC;
  HAL_GPIO_Init(GPIOB, &GPIO_InitStruct);

  /*Configure GPIO pins : OTG_HS_ID_Pin OTG_HS_DM_Pin OTG_HS_DP_Pin */
  GPIO_InitStruct.Pin = OTG_HS_ID_Pin|OTG_HS_DM_Pin|OTG_HS_DP_Pin;
  GPIO_InitStruct.Mode = GPIO_MODE_AF_PP;
  GPIO_InitStruct.Pull = GPIO_NOPULL;
  GPIO_InitStruct.Speed = GPIO_SPEED_FREQ_LOW;
  GPIO_InitStruct.Alternate = GPIO_AF12_OTG_HS_FS;
  HAL_GPIO_Init(GPIOB, &GPIO_InitStruct);

  /*Configure GPIO pin : VBUS_HS_Pin */
  GPIO_InitStruct.Pin = VBUS_HS_Pin;
  GPIO_InitStruct.Mode = GPIO_MODE_INPUT;
  GPIO_InitStruct.Pull = GPIO_NOPULL;
  HAL_GPIO_Init(VBUS_HS_GPIO_Port, &GPIO_InitStruct);

  /*Configure GPIO pins : D13_Pin D14_Pin D15_Pin D0_Pin
                           D1_Pin D2_Pin D3_Pin */
  GPIO_InitStruct.Pin = D13_Pin|D14_Pin|D15_Pin|D0_Pin
                          |D1_Pin|D2_Pin|D3_Pin;
  GPIO_InitStruct.Mode = GPIO_MODE_AF_PP;
  GPIO_InitStruct.Pull = GPIO_NOPULL;
  GPIO_InitStruct.Speed = GPIO_SPEED_FREQ_VERY_HIGH;
  GPIO_InitStruct.Alternate = GPIO_AF12_FMC;
  HAL_GPIO_Init(GPIOD, &GPIO_InitStruct);

  /*Configure GPIO pin : TE_Pin */
  GPIO_InitStruct.Pin = TE_Pin;
  GPIO_InitStruct.Mode = GPIO_MODE_INPUT;
  GPIO_InitStruct.Pull = GPIO_NOPULL;
  HAL_GPIO_Init(TE_GPIO_Port, &GPIO_InitStruct);

  /*Configure GPIO pins : RDX_Pin WRX_DCX_Pin */
  GPIO_InitStruct.Pin = RDX_Pin|WRX_DCX_Pin;
  GPIO_InitStruct.Mode = GPIO_MODE_OUTPUT_PP;
  GPIO_InitStruct.Pull = GPIO_NOPULL;
  GPIO_InitStruct.Speed = GPIO_SPEED_FREQ_LOW;
  HAL_GPIO_Init(GPIOD, &GPIO_InitStruct);

  /*Configure GPIO pins : R7_Pin DOTCLK_Pin B3_Pin */
  GPIO_InitStruct.Pin = R7_Pin|DOTCLK_Pin|B3_Pin;
  GPIO_InitStruct.Mode = GPIO_MODE_AF_PP;
  GPIO_InitStruct.Pull = GPIO_NOPULL;
  GPIO_InitStruct.Speed = GPIO_SPEED_FREQ_LOW;
  GPIO_InitStruct.Alternate = GPIO_AF14_LTDC;
  HAL_GPIO_Init(GPIOG, &GPIO_InitStruct);

  /*Configure GPIO pins : HSYNC_Pin G6_Pin R2_Pin */
  GPIO_InitStruct.Pin = HSYNC_Pin|G6_Pin|R2_Pin;
  GPIO_InitStruct.Mode = GPIO_MODE_AF_PP;
  GPIO_InitStruct.Pull = GPIO_NOPULL;
  GPIO_InitStruct.Speed = GPIO_SPEED_FREQ_LOW;
  GPIO_InitStruct.Alternate = GPIO_AF14_LTDC;
  HAL_GPIO_Init(GPIOC, &GPIO_InitStruct);

  /*Configure GPIO pin : I2C3_SDA_Pin */
  GPIO_InitStruct.Pin = I2C3_SDA_Pin;
  GPIO_InitStruct.Mode = GPIO_MODE_AF_OD;
  GPIO_InitStruct.Pull = GPIO_PULLUP;
  GPIO_InitStruct.Speed = GPIO_SPEED_FREQ_LOW;
  GPIO_InitStruct.Alternate = GPIO_AF4_I2C3;
  HAL_GPIO_Init(I2C3_SDA_GPIO_Port, &GPIO_InitStruct);

  /*Configure GPIO pin : I2C3_SCL_Pin */
  GPIO_InitStruct.Pin = I2C3_SCL_Pin;
  GPIO_InitStruct.Mode = GPIO_MODE_AF_OD;
  GPIO_InitStruct.Pull = GPIO_PULLUP;
  GPIO_InitStruct.Speed = GPIO_SPEED_FREQ_LOW;
  GPIO_InitStruct.Alternate = GPIO_AF4_I2C3;
  HAL_GPIO_Init(I2C3_SCL_GPIO_Port, &GPIO_InitStruct);

  /*Configure GPIO pins : G7_Pin B2_Pin */
  GPIO_InitStruct.Pin = G7_Pin|B2_Pin;
  GPIO_InitStruct.Mode = GPIO_MODE_AF_PP;
  GPIO_InitStruct.Pull = GPIO_NOPULL;
  GPIO_InitStruct.Speed = GPIO_SPEED_FREQ_LOW;
  GPIO_InitStruct.Alternate = GPIO_AF14_LTDC;
  HAL_GPIO_Init(GPIOD, &GPIO_InitStruct);

  /*Configure GPIO pins : G3_Pin B4_Pin */
  GPIO_InitStruct.Pin = G3_Pin|B4_Pin;
  GPIO_InitStruct.Mode = GPIO_MODE_AF_PP;
  GPIO_InitStruct.Pull = GPIO_NOPULL;
  GPIO_InitStruct.Speed = GPIO_SPEED_FREQ_LOW;
  GPIO_InitStruct.Alternate = GPIO_AF9_LTDC;
  HAL_GPIO_Init(GPIOG, &GPIO_InitStruct);

  /*Configure GPIO pins : LD3_Pin LD4_Pin */
  GPIO_InitStruct.Pin = LD3_Pin|LD4_Pin;
  GPIO_InitStruct.Mode = GPIO_MODE_OUTPUT_PP;
  GPIO_InitStruct.Pull = GPIO_NOPULL;
  GPIO_InitStruct.Speed = GPIO_SPEED_FREQ_LOW;
  HAL_GPIO_Init(GPIOG, &GPIO_InitStruct);

  /*Configure GPIO pins : SDCKE1_Pin SDNE1_Pin */
  GPIO_InitStruct.Pin = SDCKE1_Pin|SDNE1_Pin;
  GPIO_InitStruct.Mode = GPIO_MODE_AF_PP;
  GPIO_InitStruct.Pull = GPIO_NOPULL;
  GPIO_InitStruct.Speed = GPIO_SPEED_FREQ_VERY_HIGH;
  GPIO_InitStruct.Alternate = GPIO_AF12_FMC;
  HAL_GPIO_Init(GPIOB, &GPIO_InitStruct);

}

void HAL_TIM_PeriodElapsedCallback(TIM_HandleTypeDef *htim)
{
  if (htim->Instance == TIM6) {
    HAL_IncTick();
  }
}

void Error_Handler(void)
{
  __disable_irq();
  while (1)
  {
  }
}
